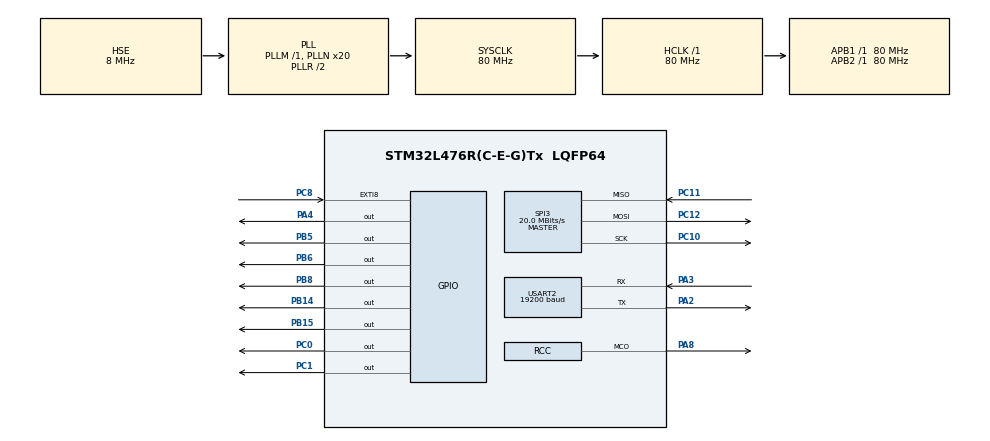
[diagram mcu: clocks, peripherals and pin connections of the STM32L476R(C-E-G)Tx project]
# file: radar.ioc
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Mcu.Family=STM32L4
Mcu.Name=STM32L476R(C-E-G)Tx
Mcu.Package=LQFP64
NVIC.EXTI9_5_IRQn=true\:0\:0\:false\:false\:true\:true\:true
NVIC.PriorityGroup=NVIC_PRIORITYGROUP_4
NVIC.TIM2_IRQn=true\:0\:0\:false\:false\:true\:true\:true
NVIC.TIM4_IRQn=true\:0\:0\:false\:false\:true\:true\:true
NVIC.USART2_IRQn=true\:0\:0\:false\:false\:true\:true\:true
PA13\ (JTMS-SWDIO).Mode=Serial_Wire
PA13\ (JTMS-SWDIO).Signal=SYS_JTMS-SWDIO
PA14\ (JTCK-SWCLK).Mode=Serial_Wire
PA14\ (JTCK-SWCLK).Signal=SYS_JTCK-SWCLK
PA2.Mode=Asynchronous
PA2.Signal=USART2_TX
PA3.Mode=Asynchronous
PA3.Signal=USART2_RX
PA4.Signal=GPIO_Output
PA8.Mode=Clock-out
PA8.Signal=RCC_MCO
PB14.Signal=GPIO_Output
PB15.Signal=GPIO_Output
PB5.Signal=GPIO_Output
PB6.Signal=GPIO_Output
PB8.Signal=GPIO_Output
PC0.Signal=GPIO_Output
PC1.Signal=GPIO_Output
PC10.Mode=Full_Duplex_Master
PC10.Signal=SPI3_SCK
PC11.Mode=Full_Duplex_Master
PC11.Signal=SPI3_MISO
PC12.Mode=Full_Duplex_Master
PC12.Signal=SPI3_MOSI
PC8.Signal=GPXTI8
PH0-OSC_IN\ (PH0).Mode=HSE-External-Oscillator
PH0-OSC_IN\ (PH0).Signal=RCC_OSC_IN
PH1-OSC_OUT\ (PH1).Mode=HSE-External-Oscillator
PH1-OSC_OUT\ (PH1).Signal=RCC_OSC_OUT
ProjectManager.HeapSize=0x5000
ProjectManager.StackSize=0x5000
ProjectManager.TargetToolchain=STM32CubeIDE
RCC.ADCFreq_Value=32000000
RCC.AHBFreq_Value=80000000
RCC.APB1Freq_Value=80000000
RCC.APB1TimFreq_Value=80000000
RCC.APB2Freq_Value=80000000
RCC.APB2TimFreq_Value=80000000
RCC.CortexFreq_Value=80000000
RCC.HCLKFreq_Value=80000000
RCC.HSE_VALUE=8000000
RCC.HSI_VALUE=16000000
RCC.LSE_VALUE=32768
RCC.MSI_VALUE=4000000
RCC.PLLN=20
RCC.PLLSourceVirtual=RCC_PLLSOURCE_HSE
RCC.SYSCLKFreq_VALUE=80000000
RCC.SYSCLKSource=RCC_SYSCLKSOURCE_PLLCLK
RCC.USBFreq_Value=32000000
RCC.VCOOutputFreq_Value=160000000
SPI3.BaudRatePrescaler=SPI_BAUDRATEPRESCALER_4
SPI3.CalculateBaudRate=20.0 MBits/s
SPI3.DataSize=SPI_DATASIZE_8BIT
SPI3.Direction=SPI_DIRECTION_2LINES
SPI3.Mode=SPI_MODE_MASTER
SPI3.VirtualType=VM_MASTER
TIM2.AutoReloadPreload=TIM_AUTORELOAD_PRELOAD_ENABLE
TIM2.ClockDivision=TIM_CLOCKDIVISION_DIV1
TIM2.Period=4000
TIM2.Prescaler=10000
TIM4.Period=49
TIM4.Prescaler=71
USART2.BaudRate=19200
USART2.VirtualMode-Asynchronous=VM_ASYNC
VP_IWDG_VS_IWDG.Mode=IWDG_Activate
VP_TIM2_VS_ClockSourceINT.Mode=Internal
VP_TIM4_VS_ClockSourceINT.Mode=Internal
board=custom

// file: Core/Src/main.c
/* USER CODE BEGIN Header */
/**
  ******************************************************************************
  * @file           : main.c
  * @brief          : Main program body
  ******************************************************************************
  * @attention
  *
  * <h2><center>&copy; Copyright (c) 2020 STMicroelectronics.
  * All rights reserved.</center></h2>
  *
  * This software component is licensed by ST under BSD 3-Clause license,
  * the "License"; You may not use this file except in compliance with the
  * License. You may obtain a copy of the License at:
  *                        opensource.org/licenses/BSD-3-Clause
  *
  ******************************************************************************
  */
/* USER CODE END Header */
#include "main.h"

/* USER CODE BEGIN Includes */
#include "mb.h"
#include "mbport.h"
#include "user_mb_app.h"

#include <string.h>
#include <stdlib.h>

#include "tableModbus.h"
#include "tableCalibration.h"
#include "mbItractions.h"
#include "tableEvents.h"
#include "workParam.h"

#include "serialProtocols.h"

#include "math.h"

#include "a111_measure.h"

/* USER CODE END Includes */

IWDG_HandleTypeDef hiwdg;

SPI_HandleTypeDef hspi3;

TIM_HandleTypeDef htim2;
TIM_HandleTypeDef htim4;

UART_HandleTypeDef huart2;

void SystemClock_Config(void);
static void MX_GPIO_Init(void);
static void MX_SPI3_Init(void);
static void MX_TIM4_Init(void);
static void MX_TIM2_Init(void);
static void MX_USART2_UART_Init(void);
static void MX_IWDG_Init(void);

/* USER CODE BEGIN 0 */
extern uint16_t usSRegInBuf[S_REG_INPUT_NREGS];
extern uint16_t usSRegHoldBuf[S_REG_HOLDING_NREGS];
extern struct_workTable TableDuplicate;

extern TableRead work_config_read;
extern TableWrite work_config_write;
extern struct_workTable TableWorkParam;

bool tim2_timeout = false;
volatile static  bool reset = false;
/* USER CODE END 0 */

int main(void)
{

  /* MCU Configuration--------------------------------------------------------*/

  /* Reset of all peripherals, Initializes the Flash interface and the Systick. */
  HAL_Init();

  /* Configure the system clock */
  SystemClock_Config();

  /* Initialize all configured peripherals */
  MX_GPIO_Init();
  MX_SPI3_Init();
  MX_TIM4_Init();
  MX_TIM2_Init();
  MX_USART2_UART_Init();
#if defined(WORK)
  MX_IWDG_Init();
#endif
  /* USER CODE BEGIN 2 */

  HAL_GPIO_WritePin(GPIOB, GPIO_PIN_8, GPIO_PIN_SET);

  if( work_config_read!=NULL )
  {
	  if ( ReadWorkParamFromFlash(FLASH_ADR_TABLE_READ,(uint8_t*)work_config_read,sizeof(union_tableRegsRead))!=OK)
	  {
		   SetInitialTableRead(work_config_read);
	  }
  }

  if( work_config_write!=NULL )
  {
      if ( ReadWorkParamFromFlash(FLASH_ADR_TABLE_WRITE,(uint8_t*)work_config_write,sizeof(uinon_tableRegsWrite))!=OK)
      {
    	   SetInitialTableWrite(work_config_write);
      }
  }

  if ( ReadWorkParamFromFlash(FLASH_ADR_TABLE_CALIBR,(uint8_t*)&TableWorkParam,sizeof(TableWorkParam))!=OK)
  {
	   memset(&TableWorkParam,0,sizeof(TableWorkParam));
  }

  TableRead duplicate_config_read = table_read_create_new(usSRegInBuf,sizeof(usSRegInBuf));
  if( duplicate_config_read!=NULL )
  {
	  CopyReadTable(work_config_read,duplicate_config_read);
  }
  TableWrite duplicate_config_write = table_write_create_new(usSRegHoldBuf, sizeof(usSRegHoldBuf));
  if( duplicate_config_write!=NULL )
  {
	  CopyWriteTable(work_config_write, duplicate_config_write);
  }

  CopyCalibrTable(&TableWorkParam, &TableDuplicate, sizeof(TableDuplicate));

  HAL_TIM_Base_Start_IT(&htim2);

  serialProtocolsInit(duplicate_config_write,duplicate_config_read ); // установка параметров для протокола LLC
  serialProtocolsSetAdress(work_config_write->Regs.AdrModbus);// установка адреса для протокола LLC

  eMBInit( MB_RTU, duplicate_config_write->Regs.AdrModbus, &huart2, 19200, &htim4 );
  eMBEnable( );

  accept_param();

  NVIC_SetPriority(USART2_IRQn, 0);
  NVIC_EnableIRQ(USART2_IRQn);

  uint8_t buf_start[] = "start of the work\r\n";
  HAL_UART_Transmit_IT(&huart2, buf_start, sizeof(buf_start));

#if defined(RS485_TEST)

    HAL_GPIO_WritePin(RS485_DIR_PORT, RS485_DIR_Pin,GPIO_PIN_SET);
	while(1)
	{
		for(int i=0;i<5000000;i++);
		HAL_UART_Transmit_IT(&huart2, buf_start, sizeof(buf_start));
	}
#endif

#if defined(WORK)
  HAL_IWDG_Refresh(&hiwdg);
#endif

  radar_activate_rss();
  radar_start_with_settings(work_config_write);

  /* USER CODE END 2 */

  /* Infinite loop */
  while (1)
  {

    /* USER CODE BEGIN 3 */

	  switch( MB_CHECK(duplicate_config_write) )
	  {
	  case MODBUS_SAVE_CONFIG:
	  {

		  if(duplicate_config_write->Regs.AdrModbus!=work_config_write->Regs.AdrModbus)
		  {
			  eMBDisable();
			  eMBClose();
			  eMBInit( MB_RTU, duplicate_config_write->Regs.AdrModbus, &huart2, 19200, &htim4 );
			  eMBEnable( );
		  }

		  CopyReadTable(duplicate_config_read,work_config_read);
		  CopyWriteTable(duplicate_config_write,work_config_write);
		  CopyCalibrTable(&TableDuplicate,&TableWorkParam, sizeof(TableWorkParam));
		  accept_param();

		  duplicate_config_read->Regs.timechange = duplicate_config_write->Regs.timechange;
		  duplicate_config_read->Regs.idchange = duplicate_config_write->Regs.idchange;
		  duplicate_config_read->Regs.idset = duplicate_config_write->Regs.idset;

		  WriteWorkParamToFlash(FLASH_ADR_TABLE_READ,(uint8_t*)work_config_read,sizeof(union_tableRegsRead));
		  WriteWorkParamToFlash(FLASH_ADR_TABLE_WRITE,(uint8_t*)work_config_write,sizeof(uinon_tableRegsWrite));
		  WriteWorkParamToFlash(FLASH_ADR_TABLE_CALIBR,(uint8_t*)&TableWorkParam,sizeof(TableWorkParam));
		  MB_SEND_STATUS(duplicate_config_write,STAT_CONFIG_SAVE);
		  reset = true;
	  }
	  break;
	  case MODBUS_UPDATE_CONFIG:
	  {
		  CopyReadTable(work_config_read,duplicate_config_read);
		  CopyWriteTable(work_config_write, duplicate_config_write);
		  CopyCalibrTable(&TableWorkParam, &TableDuplicate, sizeof(TableDuplicate));
		  MB_SEND_STATUS(duplicate_config_write,STAT_CONFIG_UPDATE);
	  }
	  break;
	  case MODBUS_RECEIVE_PAS:
	  {

	  }
	  break;
	  case MODBUS_UPDATE_FACTORY:
	  {
		  memcpy((uint8_t*)&duplicate_config_read->Regs.timeconnect,(uint8_t*)&duplicate_config_write->Regs.timeconnect,62);
		  memcpy((uint8_t*)&work_config_read->Regs.timeconnect,(uint8_t*)&duplicate_config_write->Regs.timeconnect,62);
//		  WriteWorkParamToFlash(FLASH_ADR_TABLE_READ,(uint8_t*)work_config_read,sizeof(union_tableRegsRead));
		  MB_SEND_STATUS(duplicate_config_write,STAT_CMD_SAVE_FACTORY);
	  }
	  break;
	  case MODBUS_UPDATE_DATA_CONNECT:
	  {
		  duplicate_config_read->Regs.timeconnect = duplicate_config_write->Regs.timeconnect;
		  duplicate_config_read->Regs.idchange = duplicate_config_write->Regs.idchange;
		  work_config_read->Regs.timeconnect = duplicate_config_write->Regs.timeconnect;
		  work_config_read->Regs.idchange = duplicate_config_write->Regs.idchange;
//		  WriteWorkParamToFlash(FLASH_ADR_TABLE_READ,(uint8_t*)work_config_read,sizeof(union_tableRegsRead));
		  MB_SEND_STATUS(duplicate_config_write,STAT_CMD_DATA_CONNECT);
	  }
	  break;
	  case NO_ACTION:
	  {

	  }
	  break;
	  }

   if( tim2_timeout )
   {
#if defined(WORK)
      duplicate_config_write->Regs.CurrentDistanse = get_filtred_distanse( radar_get_measure() );
      float volume = get_volume_interpolation((float)duplicate_config_write->Regs.CurrentDistanse);
#else
      static uint8_t s = 0;
      s++;
      duplicate_config_write->Regs.CurrentDistanse = (uint16_t)s;
      float volume = (float) s;
#endif
      duplicate_config_write->Regs.CurrentVolume = (uint32_t)(volume*1000);
      tim2_timeout = false;
      NVIC_EnableIRQ(USART2_IRQn);
   }
     eMBPoll();

     if( !reset  )
     {
#if defined(WORK)
         HAL_IWDG_Refresh(&hiwdg);
#endif

     }
  }
  /* USER CODE END 3 */
}

void SystemClock_Config(void)
{
  RCC_OscInitTypeDef RCC_OscInitStruct = {0};
  RCC_ClkInitTypeDef RCC_ClkInitStruct = {0};
  RCC_PeriphCLKInitTypeDef PeriphClkInit = {0};

  /** Initializes the RCC Oscillators according to the specified parameters
  * in the RCC_OscInitTypeDef structure.
  */
  RCC_OscInitStruct.OscillatorType = RCC_OSCILLATORTYPE_LSI|RCC_OSCILLATORTYPE_HSE;
  RCC_OscInitStruct.HSEState = RCC_HSE_ON;
  RCC_OscInitStruct.LSIState = RCC_LSI_ON;
  RCC_OscInitStruct.PLL.PLLState = RCC_PLL_ON;
  RCC_OscInitStruct.PLL.PLLSource = RCC_PLLSOURCE_HSE;
  RCC_OscInitStruct.PLL.PLLM = 1;
  RCC_OscInitStruct.PLL.PLLN = 20;
  RCC_OscInitStruct.PLL.PLLP = RCC_PLLP_DIV7;
  RCC_OscInitStruct.PLL.PLLQ = RCC_PLLQ_DIV2;
  RCC_OscInitStruct.PLL.PLLR = RCC_PLLR_DIV2;
  if (HAL_RCC_OscConfig(&RCC_OscInitStruct) != HAL_OK)
  {
    Error_Handler();
  }
  /** Initializes the CPU, AHB and APB buses clocks
  */
  RCC_ClkInitStruct.ClockType = RCC_CLOCKTYPE_HCLK|RCC_CLOCKTYPE_SYSCLK
                              |RCC_CLOCKTYPE_PCLK1|RCC_CLOCKTYPE_PCLK2;
  RCC_ClkInitStruct.SYSCLKSource = RCC_SYSCLKSOURCE_PLLCLK;
  RCC_ClkInitStruct.AHBCLKDivider = RCC_SYSCLK_DIV1;
  RCC_ClkInitStruct.APB1CLKDivider = RCC_HCLK_DIV1;
  RCC_ClkInitStruct.APB2CLKDivider = RCC_HCLK_DIV1;

  if (HAL_RCC_ClockConfig(&RCC_ClkInitStruct, FLASH_LATENCY_4) != HAL_OK)
  {
    Error_Handler();
  }
  PeriphClkInit.PeriphClockSelection = RCC_PERIPHCLK_USART2;
  PeriphClkInit.Usart2ClockSelection = RCC_USART2CLKSOURCE_PCLK1;
  if (HAL_RCCEx_PeriphCLKConfig(&PeriphClkInit) != HAL_OK)
  {
    Error_Handler();
  }
  HAL_RCC_MCOConfig(RCC_MCO1, RCC_MCO1SOURCE_SYSCLK, RCC_MCODIV_1);
  /** Configure the main internal regulator output voltage
  */
  if (HAL_PWREx_ControlVoltageScaling(PWR_REGULATOR_VOLTAGE_SCALE1) != HAL_OK)
  {
    Error_Handler();
  }
}

static void MX_IWDG_Init(void)
{

  hiwdg.Instance = IWDG;
  hiwdg.Init.Prescaler = IWDG_PRESCALER_4;
  hiwdg.Init.Window = 4095;
  hiwdg.Init.Reload = 4095;
  if (HAL_IWDG_Init(&hiwdg) != HAL_OK)
  {
    Error_Handler();
  }

}

static void MX_SPI3_Init(void)
{

  /* SPI3 parameter configuration*/
  hspi3.Instance = SPI3;
  hspi3.Init.Mode = SPI_MODE_MASTER;
  hspi3.Init.Direction = SPI_DIRECTION_2LINES;
  hspi3.Init.DataSize = SPI_DATASIZE_8BIT;
  hspi3.Init.CLKPolarity = SPI_POLARITY_LOW;
  hspi3.Init.CLKPhase = SPI_PHASE_1EDGE;
  hspi3.Init.NSS = SPI_NSS_SOFT;
  hspi3.Init.BaudRatePrescaler = SPI_BAUDRATEPRESCALER_4;
  hspi3.Init.FirstBit = SPI_FIRSTBIT_MSB;
  hspi3.Init.TIMode = SPI_TIMODE_DISABLE;
  hspi3.Init.CRCCalculation = SPI_CRCCALCULATION_DISABLE;
  hspi3.Init.CRCPolynomial = 7;
  hspi3.Init.CRCLength = SPI_CRC_LENGTH_DATASIZE;
  hspi3.Init.NSSPMode = SPI_NSS_PULSE_ENABLE;
  if (HAL_SPI_Init(&hspi3) != HAL_OK)
  {
    Error_Handler();
  }

}

static void MX_TIM2_Init(void)
{

  TIM_ClockConfigTypeDef sClockSourceConfig = {0};
  TIM_MasterConfigTypeDef sMasterConfig = {0};

  htim2.Instance = TIM2;
  htim2.Init.Prescaler = 10000;
  htim2.Init.CounterMode = TIM_COUNTERMODE_UP;
  htim2.Init.Period = 4000;
  htim2.Init.ClockDivision = TIM_CLOCKDIVISION_DIV1;
  htim2.Init.AutoReloadPreload = TIM_AUTORELOAD_PRELOAD_ENABLE;
  if (HAL_TIM_Base_Init(&htim2) != HAL_OK)
  {
    Error_Handler();
  }
  sClockSourceConfig.ClockSource = TIM_CLOCKSOURCE_INTERNAL;
  if (HAL_TIM_ConfigClockSource(&htim2, &sClockSourceConfig) != HAL_OK)
  {
    Error_Handler();
  }
  sMasterConfig.MasterOutputTrigger = TIM_TRGO_RESET;
  sMasterConfig.MasterSlaveMode = TIM_MASTERSLAVEMODE_DISABLE;
  if (HAL_TIMEx_MasterConfigSynchronization(&htim2, &sMasterConfig) != HAL_OK)
  {
    Error_Handler();
  }

}

static void MX_TIM4_Init(void)
{

  TIM_ClockConfigTypeDef sClockSourceConfig = {0};
  TIM_MasterConfigTypeDef sMasterConfig = {0};

  htim4.Instance = TIM4;
  htim4.Init.Prescaler = 71;
  htim4.Init.CounterMode = TIM_COUNTERMODE_UP;
  htim4.Init.Period = 29;
  htim4.Init.ClockDivision = TIM_CLOCKDIVISION_DIV1;
  htim4.Init.AutoReloadPreload = TIM_AUTORELOAD_PRELOAD_DISABLE;
  if (HAL_TIM_Base_Init(&htim4) != HAL_OK)
  {
    Error_Handler();
  }
  sClockSourceConfig.ClockSource = TIM_CLOCKSOURCE_INTERNAL;
  if (HAL_TIM_ConfigClockSource(&htim4, &sClockSourceConfig) != HAL_OK)
  {
    Error_Handler();
  }
  sMasterConfig.MasterOutputTrigger = TIM_TRGO_RESET;
  sMasterConfig.MasterSlaveMode = TIM_MASTERSLAVEMODE_DISABLE;
  if (HAL_TIMEx_MasterConfigSynchronization(&htim4, &sMasterConfig) != HAL_OK)
  {
    Error_Handler();
  }

}

static void MX_USART2_UART_Init(void)
{

  huart2.Instance = USART2;
  huart2.Init.BaudRate = 19200;
  huart2.Init.WordLength = UART_WORDLENGTH_8B;
  huart2.Init.StopBits = UART_STOPBITS_1;
  huart2.Init.Parity = UART_PARITY_NONE;
  huart2.Init.Mode = UART_MODE_TX_RX;
  huart2.Init.HwFlowCtl = UART_HWCONTROL_NONE;
  huart2.Init.OverSampling = UART_OVERSAMPLING_16;
  huart2.Init.OneBitSampling = UART_ONE_BIT_SAMPLE_DISABLE;
  huart2.AdvancedInit.AdvFeatureInit = UART_ADVFEATURE_NO_INIT;
  if (HAL_UART_Init(&huart2) != HAL_OK)
  {
    Error_Handler();
  }

}

static void MX_GPIO_Init(void)
{
  GPIO_InitTypeDef GPIO_InitStruct = {0};

  /* GPIO Ports Clock Enable */
  __HAL_RCC_GPIOH_CLK_ENABLE();
  __HAL_RCC_GPIOC_CLK_ENABLE();
  __HAL_RCC_GPIOA_CLK_ENABLE();
  __HAL_RCC_GPIOB_CLK_ENABLE();

  /*Configure GPIO pin Output Level */
  HAL_GPIO_WritePin(GPIOC, GPIO_PIN_0|GPIO_PIN_1, GPIO_PIN_RESET);

  /*Configure GPIO pin Output Level */
  HAL_GPIO_WritePin(GPIOA, GPIO_PIN_4, GPIO_PIN_RESET);

  /*Configure GPIO pin Output Level */
  HAL_GPIO_WritePin(GPIOB, GPIO_PIN_14|GPIO_PIN_15|GPIO_PIN_5|GPIO_PIN_6
                          |GPIO_PIN_8, GPIO_PIN_RESET);

  /*Configure GPIO pins : PC0 PC1 */
  GPIO_InitStruct.Pin = GPIO_PIN_0|GPIO_PIN_1;
  GPIO_InitStruct.Mode = GPIO_MODE_OUTPUT_PP;
  GPIO_InitStruct.Pull = GPIO_NOPULL;
  GPIO_InitStruct.Speed = GPIO_SPEED_FREQ_LOW;
  HAL_GPIO_Init(GPIOC, &GPIO_InitStruct);

  /*Configure GPIO pin : PA4 */
  GPIO_InitStruct.Pin = GPIO_PIN_4;
  GPIO_InitStruct.Mode = GPIO_MODE_OUTPUT_PP;
  GPIO_InitStruct.Pull = GPIO_NOPULL;
  GPIO_InitStruct.Speed = GPIO_SPEED_FREQ_LOW;
  HAL_GPIO_Init(GPIOA, &GPIO_InitStruct);

  /*Configure GPIO pins : PB14 PB15 PB5 PB6
                           PB8 */
  GPIO_InitStruct.Pin = GPIO_PIN_14|GPIO_PIN_15|GPIO_PIN_5|GPIO_PIN_6
                          |GPIO_PIN_8;
  GPIO_InitStruct.Mode = GPIO_MODE_OUTPUT_PP;
  GPIO_InitStruct.Pull = GPIO_NOPULL;
  GPIO_InitStruct.Speed = GPIO_SPEED_FREQ_LOW;
  HAL_GPIO_Init(GPIOB, &GPIO_InitStruct);

  /*Configure GPIO pin : PC8 */
  GPIO_InitStruct.Pin = GPIO_PIN_8;
  GPIO_InitStruct.Mode = GPIO_MODE_IT_RISING;
  GPIO_InitStruct.Pull = GPIO_NOPULL;
  HAL_GPIO_Init(GPIOC, &GPIO_InitStruct);

  /*Configure GPIO pin : PA8 */
  GPIO_InitStruct.Pin = GPIO_PIN_8;
  GPIO_InitStruct.Mode = GPIO_MODE_AF_PP;
  GPIO_InitStruct.Pull = GPIO_NOPULL;
  GPIO_InitStruct.Speed = GPIO_SPEED_FREQ_LOW;
  GPIO_InitStruct.Alternate = GPIO_AF0_MCO;
  HAL_GPIO_Init(GPIOA, &GPIO_InitStruct);

  /* EXTI interrupt init*/
  HAL_NVIC_SetPriority(EXTI9_5_IRQn, 0, 0);
  HAL_NVIC_EnableIRQ(EXTI9_5_IRQn);

}

/* USER CODE BEGIN 4 */

//void HAL_TIM_PeriodElapsedCallback(TIM_HandleTypeDef *htim)
//{
//  // Check which version of the timer triggered this callback and toggle LED
//  if (htim == &htim2 )
//  {
//	  HAL_GPIO_TogglePin(GPIOB, GPIO_PIN_8);
//  }
//}

/* USER CODE END 4 */

void Error_Handler(void)
{
}

/************************ (C) COPYRIGHT STMicroelectronics *****END OF FILE****/
